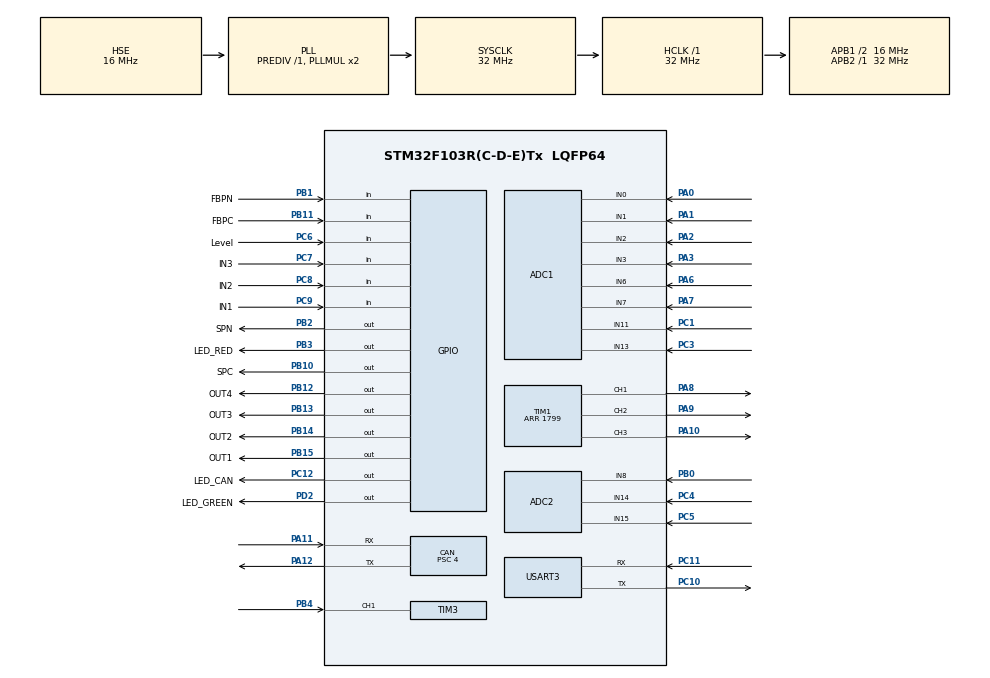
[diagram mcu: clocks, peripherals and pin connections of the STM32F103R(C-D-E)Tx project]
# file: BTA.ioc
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ADC1.Channel-0\#ChannelRegularConversion=ADC_CHANNEL_0
ADC1.Channel-1\#ChannelRegularConversion=ADC_CHANNEL_1
ADC1.Channel-2\#ChannelRegularConversion=ADC_CHANNEL_2
ADC1.Channel-3\#ChannelRegularConversion=ADC_CHANNEL_3
ADC1.Channel-4\#ChannelRegularConversion=ADC_CHANNEL_6
ADC1.Channel-5\#ChannelRegularConversion=ADC_CHANNEL_7
ADC1.Channel-6\#ChannelRegularConversion=ADC_CHANNEL_11
ADC1.Channel-7\#ChannelRegularConversion=ADC_CHANNEL_13
ADC1.NbrOfConversion=8
ADC1.NbrOfConversionFlag=1
ADC1.Rank-0\#ChannelRegularConversion=1
ADC1.Rank-1\#ChannelRegularConversion=2
ADC1.Rank-2\#ChannelRegularConversion=3
ADC1.Rank-3\#ChannelRegularConversion=4
ADC1.Rank-4\#ChannelRegularConversion=5
ADC1.Rank-5\#ChannelRegularConversion=6
ADC1.Rank-6\#ChannelRegularConversion=7
ADC1.Rank-7\#ChannelRegularConversion=8
ADC1.SamplingTime-0\#ChannelRegularConversion=ADC_SAMPLETIME_13CYCLES_5
ADC1.SamplingTime-1\#ChannelRegularConversion=ADC_SAMPLETIME_13CYCLES_5
ADC1.SamplingTime-2\#ChannelRegularConversion=ADC_SAMPLETIME_13CYCLES_5
ADC1.SamplingTime-3\#ChannelRegularConversion=ADC_SAMPLETIME_13CYCLES_5
ADC1.SamplingTime-4\#ChannelRegularConversion=ADC_SAMPLETIME_13CYCLES_5
ADC1.SamplingTime-5\#ChannelRegularConversion=ADC_SAMPLETIME_13CYCLES_5
ADC1.SamplingTime-6\#ChannelRegularConversion=ADC_SAMPLETIME_13CYCLES_5
ADC1.SamplingTime-7\#ChannelRegularConversion=ADC_SAMPLETIME_13CYCLES_5
ADC1.master=1
ADC2.Channel-1\#ChannelInjectedConversion=ADC_CHANNEL_8
ADC2.Channel-2\#ChannelInjectedConversion=ADC_CHANNEL_14
ADC2.Channel-3\#ChannelInjectedConversion=ADC_CHANNEL_15
ADC2.EnableInjectedConversion=ENABLE
ADC2.EnableRegularConversion=DISABLE
ADC2.InjNumberOfConversion=3
ADC2.InjectedOffset-1\#ChannelInjectedConversion=0
ADC2.InjectedOffset-2\#ChannelInjectedConversion=0
ADC2.InjectedOffset-3\#ChannelInjectedConversion=0
ADC2.InjectedRank-1\#ChannelInjectedConversion=1
ADC2.InjectedRank-2\#ChannelInjectedConversion=2
ADC2.InjectedRank-3\#ChannelInjectedConversion=3
ADC2.SamplingTime-1\#ChannelInjectedConversion=ADC_SAMPLETIME_28CYCLES_5
ADC2.SamplingTime-2\#ChannelInjectedConversion=ADC_SAMPLETIME_28CYCLES_5
ADC2.SamplingTime-3\#ChannelInjectedConversion=ADC_SAMPLETIME_28CYCLES_5
CAN.ABOM=ENABLE
CAN.BS1=CAN_BS1_12TQ
CAN.BS2=CAN_BS2_3TQ
CAN.CalculateBaudRate=250000
CAN.CalculateTimeBit=4000.00
CAN.CalculateTimeQuantum=250.0
CAN.NART=ENABLE
CAN.Prescaler=4
CAN.TXFP=ENABLE
Dma.ADC1.2.Direction=DMA_PERIPH_TO_MEMORY
Dma.ADC1.2.Instance=DMA1_Channel1
Dma.ADC1.2.MemDataAlignment=DMA_MDATAALIGN_HALFWORD
Dma.ADC1.2.MemInc=DMA_MINC_ENABLE
Dma.ADC1.2.Mode=DMA_NORMAL
Dma.ADC1.2.PeriphDataAlignment=DMA_PDATAALIGN_HALFWORD
Dma.ADC1.2.PeriphInc=DMA_PINC_DISABLE
Dma.ADC1.2.Priority=DMA_PRIORITY_LOW
Dma.Request0=USART3_TX
Dma.Request1=USART3_RX
Dma.Request2=ADC1
Dma.USART3_RX.1.Direction=DMA_PERIPH_TO_MEMORY
Dma.USART3_RX.1.Instance=DMA1_Channel3
Dma.USART3_RX.1.MemDataAlignment=DMA_MDATAALIGN_BYTE
Dma.USART3_RX.1.MemInc=DMA_MINC_ENABLE
Dma.USART3_RX.1.Mode=DMA_NORMAL
Dma.USART3_RX.1.PeriphDataAlignment=DMA_PDATAALIGN_BYTE
Dma.USART3_RX.1.PeriphInc=DMA_PINC_DISABLE
Dma.USART3_RX.1.Priority=DMA_PRIORITY_LOW
Dma.USART3_TX.0.Direction=DMA_MEMORY_TO_PERIPH
Dma.USART3_TX.0.Instance=DMA1_Channel2
Dma.USART3_TX.0.MemDataAlignment=DMA_MDATAALIGN_BYTE
Dma.USART3_TX.0.MemInc=DMA_MINC_ENABLE
Dma.USART3_TX.0.Mode=DMA_NORMAL
Dma.USART3_TX.0.PeriphDataAlignment=DMA_PDATAALIGN_BYTE
Dma.USART3_TX.0.PeriphInc=DMA_PINC_DISABLE
Dma.USART3_TX.0.Priority=DMA_PRIORITY_LOW
Mcu.Family=STM32F1
Mcu.Name=STM32F103R(C-D-E)Tx
Mcu.Package=LQFP64
NVIC.ADC1_2_IRQn=true\:0\:0\:false\:false\:true\:true\:true
NVIC.DMA1_Channel1_IRQn=true\:0\:0\:false\:false\:true\:false\:true
NVIC.DMA1_Channel2_IRQn=true\:0\:0\:false\:false\:true\:false\:true
NVIC.DMA1_Channel3_IRQn=true\:0\:0\:false\:false\:true\:false\:true
NVIC.PriorityGroup=NVIC_PRIORITYGROUP_4
NVIC.TIM3_IRQn=true\:0\:0\:false\:false\:true\:true\:true
NVIC.USART3_IRQn=true\:0\:0\:false\:false\:true\:true\:true
NVIC.USB_LP_CAN1_RX0_IRQn=true\:0\:0\:false\:false\:true\:true\:true
PA0-WKUP.Signal=ADCx_IN0
PA1.Signal=ADCx_IN1
PA10.Signal=S_TIM1_CH3
PA11.Mode=CAN_Activate
PA11.Signal=CAN_RX
PA12.Mode=CAN_Activate
PA12.Signal=CAN_TX
PA13.Mode=Serial_Wire
PA13.Signal=SYS_JTMS-SWDIO
PA14.Mode=Serial_Wire
PA14.Signal=SYS_JTCK-SWCLK
PA2.Signal=ADCx_IN2
PA3.Signal=ADCx_IN3
PA4.Signal=ADCx_IN4
PA5.Signal=ADCx_IN5
PA6.Signal=ADCx_IN6
PA7.Signal=ADCx_IN7
PA8.Signal=S_TIM1_CH1
PA9.Signal=S_TIM1_CH2
PB0.Signal=ADCx_IN8
PB1.GPIO_Label=FBPN
PB1.Signal=GPIO_Input
PB10.GPIO_Label=SPC
PB10.Signal=GPIO_Output
PB11.GPIO_Label=FBPC
PB11.Signal=GPIO_Input
PB12.GPIO_Label=OUT4
PB12.Signal=GPIO_Output
PB13.GPIO_Label=OUT3
PB13.Signal=GPIO_Output
PB14.GPIO_Label=OUT2
PB14.Signal=GPIO_Output
PB15.GPIO_Label=OUT1
PB15.Signal=GPIO_Output
PB2.GPIO_Label=SPN
PB2.Signal=GPIO_Output
PB3.GPIO_Label=LED_RED
PB3.Signal=GPIO_Output
PB4.Signal=S_TIM3_CH1
PC0.Signal=ADCx_IN10
PC1.Signal=ADCx_IN11
PC10.Mode=Asynchronous
PC10.Signal=USART3_TX
PC11.Mode=Asynchronous
PC11.Signal=USART3_RX
PC12.GPIO_Label=LED_CAN
PC12.Signal=GPIO_Output
PC2.Signal=ADCx_IN12
PC3.Signal=ADCx_IN13
PC4.Signal=ADCx_IN14
PC5.Signal=ADCx_IN15
PC6.GPIO_Label=Level
PC6.Signal=GPIO_Input
PC7.GPIO_Label=IN3
PC7.Signal=GPIO_Input
PC8.GPIO_Label=IN2
PC8.Signal=GPIO_Input
PC9.GPIO_Label=IN1
PC9.Signal=GPIO_Input
PD0-OSC_IN.Mode=HSE-External-Oscillator
PD0-OSC_IN.Signal=RCC_OSC_IN
PD1-OSC_OUT.Mode=HSE-External-Oscillator
PD1-OSC_OUT.Signal=RCC_OSC_OUT
PD2.GPIO_Label=LED_GREEN
PD2.Signal=GPIO_Output
ProjectManager.HeapSize=0x200
ProjectManager.StackSize=0x400
ProjectManager.TargetToolchain=STM32CubeIDE
RCC.ADCPresc=RCC_ADCPCLK2_DIV4
RCC.AHBFreq_Value=32000000
RCC.APB1CLKDivider=RCC_HCLK_DIV2
RCC.APB1Freq_Value=16000000
RCC.APB1TimFreq_Value=32000000
RCC.APB2Freq_Value=32000000
RCC.APB2TimFreq_Value=32000000
RCC.HCLKFreq_Value=32000000
RCC.HSE_VALUE=16000000
RCC.PLLSourceVirtual=RCC_PLLSOURCE_HSE
RCC.SYSCLKFreq_VALUE=32000000
RCC.SYSCLKSource=RCC_SYSCLKSOURCE_PLLCLK
RCC.USBFreq_Value=32000000
SH.ADCx_IN0.0=ADC1_IN0,IN0
SH.ADCx_IN1.0=ADC1_IN1,IN1
SH.ADCx_IN10.0=ADC1_IN10
SH.ADCx_IN11.0=ADC1_IN11,IN11
SH.ADCx_IN12.0=ADC1_IN12
SH.ADCx_IN13.0=ADC1_IN13,IN13
SH.ADCx_IN14.0=ADC2_IN14,IN14
SH.ADCx_IN15.0=ADC2_IN15,IN15
SH.ADCx_IN2.0=ADC1_IN2,IN2
SH.ADCx_IN3.0=ADC1_IN3,IN3
SH.ADCx_IN4.0=ADC1_IN4
SH.ADCx_IN5.0=ADC1_IN5
SH.ADCx_IN6.0=ADC1_IN6,IN6
SH.ADCx_IN7.0=ADC1_IN7,IN7
SH.ADCx_IN8.0=ADC2_IN8,IN8
SH.S_TIM1_CH1.0=TIM1_CH1,PWM Generation1 CH1
SH.S_TIM1_CH2.0=TIM1_CH2,PWM Generation2 CH2
SH.S_TIM1_CH3.0=TIM1_CH3,PWM Generation3 CH3
SH.S_TIM3_CH1.0=TIM3_CH1,PWM_Input_1
TIM1.Channel-PWM\ Generation1\ CH1=TIM_CHANNEL_1
TIM1.Channel-PWM\ Generation2\ CH2=TIM_CHANNEL_2
TIM1.Channel-PWM\ Generation3\ CH3=TIM_CHANNEL_3
TIM1.Period=1799
TIM3.Period=49999
TIM3.Prescaler=39
USART3.VirtualMode=VM_ASYNC
board=custom

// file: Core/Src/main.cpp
/* USER CODE BEGIN Header */
/**
  ******************************************************************************
  * @file           : main.c
  * @brief          : Main program body
  ******************************************************************************
  * @attention
  *
  * <h2><center>&copy; Copyright (c) 2024 STMicroelectronics.
  * All rights reserved.</center></h2>
  *
  * This software component is licensed by ST under BSD 3-Clause license,
  * the "License"; You may not use this file except in compliance with the
  * License. You may obtain a copy of the License at:
  *                        opensource.org/licenses/BSD-3-Clause
  *
  ******************************************************************************
  */
/* USER CODE END Header */
#include "main.h"

/* USER CODE BEGIN Includes */
#include "timers.h"
/* USER CODE END Includes */

ADC_HandleTypeDef hadc1;
ADC_HandleTypeDef hadc2;
DMA_HandleTypeDef hdma_adc1;

CAN_HandleTypeDef hcan;

TIM_HandleTypeDef htim1;
TIM_HandleTypeDef htim3;

UART_HandleTypeDef huart3;
DMA_HandleTypeDef hdma_usart3_tx;
DMA_HandleTypeDef hdma_usart3_rx;

void SystemClock_Config(void);
static void MX_GPIO_Init(void);
static void MX_DMA_Init(void);
static void MX_ADC1_Init(void);
static void MX_ADC2_Init(void);
static void MX_CAN_Init(void);
static void MX_USART3_UART_Init(void);
static void MX_TIM3_Init(void);
static void MX_TIM1_Init(void);

/* USER CODE BEGIN 0 */
#include "device.h"
/* USER CODE END 0 */

int main(void)
{

  /* MCU Configuration--------------------------------------------------------*/

  /* Reset of all peripherals, Initializes the Flash interface and the Systick. */
  HAL_Init();

  /* Configure the system clock */
  SystemClock_Config();

  /* Initialize all configured peripherals */
  MX_GPIO_Init();
  MX_DMA_Init();
  MX_ADC1_Init();
  MX_ADC2_Init();
  MX_CAN_Init();
  MX_USART3_UART_Init();
  MX_TIM3_Init();
  MX_TIM1_Init();
  /* USER CODE BEGIN 2 */

  decltype(auto) led_red     = Pin{GPIOB, LED_RED_Pin        };
  decltype(auto) led_green   = Pin{GPIOD, LED_GREEN_Pin      };
  decltype(auto) led_can     = Pin{GPIOC, LED_CAN_Pin        };
  decltype(auto) in1         = Pin{GPIOC, IN1_Pin            };
  decltype(auto) in2         = Pin{GPIOC, IN2_Pin            };
  decltype(auto) in3         = Pin{GPIOC, IN3_Pin            };
  decltype(auto) level       = Pin{GPIOC, Level_Pin          };
  decltype(auto) out1        = Pin{GPIOB, OUT1_Pin           };
  decltype(auto) out2        = Pin{GPIOB, OUT2_Pin           };
  decltype(auto) out3        = Pin{GPIOB, OUT3_Pin           };
  decltype(auto) out4        = Pin{GPIOB, OUT4_Pin           };
  decltype(auto) cool        = Pin{GPIOB, SPC_Pin            };
  decltype(auto) fb_cool     = Pin{GPIOB, FBPC_Pin           };
  decltype(auto) heat        = Pin{GPIOB, SPN_Pin            };
  decltype(auto) fb_heat     = Pin{GPIOB, FBPN_Pin           };

  decltype(auto) adc = ADC_ {adc_callback, adc_injected_callback, 8, 100};

  decltype(auto) first_fun = PWM{&htim1, TIM_CHANNEL_2, 1800};
  decltype(auto) second_fun = PWM{&htim1, TIM_CHANNEL_1, 1800};
  decltype(auto) pump = PWM{&htim1, TIM_CHANNEL_3, 1800};

  decltype(auto) counter = Counter(&htim3, TIM_CHANNEL_1, interrupt_ic_tim, 60'000);

  decltype(auto) uart = UART_<>{led_can};

  decltype(auto) ntc = NTC{};

  decltype(auto) service = Service<In_data, Out_data>{adc, ntc, uart, interrupt_dma, interrupt_uart};

  decltype(auto) can = CAN<In_id, Out_id>{led_can, interrupt_can_rx, 500};

  decltype(auto) device = Device{adc, first_fun, second_fun, pump, counter, service, can, led_red, led_green, led_can, in1, in2, in3, level, out1, out2, out3, out4, cool, fb_cool, heat, fb_heat};

  /* USER CODE END 2 */

  /* Infinite loop */
  /* USER CODE BEGIN WHILE */
  while (1)
  {
	  device();
    /* USER CODE END WHILE */

  }
}

void SystemClock_Config(void)
{
  RCC_OscInitTypeDef RCC_OscInitStruct = {0};
  RCC_ClkInitTypeDef RCC_ClkInitStruct = {0};
  RCC_PeriphCLKInitTypeDef PeriphClkInit = {0};

  /** Initializes the RCC Oscillators according to the specified parameters
  * in the RCC_OscInitTypeDef structure.
  */
  RCC_OscInitStruct.OscillatorType = RCC_OSCILLATORTYPE_HSE;
  RCC_OscInitStruct.HSEState = RCC_HSE_ON;
  RCC_OscInitStruct.HSEPredivValue = RCC_HSE_PREDIV_DIV1;
  RCC_OscInitStruct.HSIState = RCC_HSI_ON;
  RCC_OscInitStruct.PLL.PLLState = RCC_PLL_ON;
  RCC_OscInitStruct.PLL.PLLSource = RCC_PLLSOURCE_HSE;
  RCC_OscInitStruct.PLL.PLLMUL = RCC_PLL_MUL2;
  if (HAL_RCC_OscConfig(&RCC_OscInitStruct) != HAL_OK)
  {
    Error_Handler();
  }
  /** Initializes the CPU, AHB and APB buses clocks
  */
  RCC_ClkInitStruct.ClockType = RCC_CLOCKTYPE_HCLK|RCC_CLOCKTYPE_SYSCLK
                              |RCC_CLOCKTYPE_PCLK1|RCC_CLOCKTYPE_PCLK2;
  RCC_ClkInitStruct.SYSCLKSource = RCC_SYSCLKSOURCE_PLLCLK;
  RCC_ClkInitStruct.AHBCLKDivider = RCC_SYSCLK_DIV1;
  RCC_ClkInitStruct.APB1CLKDivider = RCC_HCLK_DIV2;
  RCC_ClkInitStruct.APB2CLKDivider = RCC_HCLK_DIV1;

  if (HAL_RCC_ClockConfig(&RCC_ClkInitStruct, FLASH_LATENCY_1) != HAL_OK)
  {
    Error_Handler();
  }
  PeriphClkInit.PeriphClockSelection = RCC_PERIPHCLK_ADC;
  PeriphClkInit.AdcClockSelection = RCC_ADCPCLK2_DIV4;
  if (HAL_RCCEx_PeriphCLKConfig(&PeriphClkInit) != HAL_OK)
  {
    Error_Handler();
  }
}

static void MX_ADC1_Init(void)
{

  ADC_ChannelConfTypeDef sConfig = {0};

  /** Common config
  */
  hadc1.Instance = ADC1;
  hadc1.Init.ScanConvMode = ADC_SCAN_ENABLE;
  hadc1.Init.ContinuousConvMode = DISABLE;
  hadc1.Init.DiscontinuousConvMode = DISABLE;
  hadc1.Init.ExternalTrigConv = ADC_SOFTWARE_START;
  hadc1.Init.DataAlign = ADC_DATAALIGN_RIGHT;
  hadc1.Init.NbrOfConversion = 8;
  if (HAL_ADC_Init(&hadc1) != HAL_OK)
  {
    Error_Handler();
  }
  /** Configure Regular Channel
  */
  sConfig.Channel = ADC_CHANNEL_0;
  sConfig.Rank = ADC_REGULAR_RANK_1;
  sConfig.SamplingTime = ADC_SAMPLETIME_13CYCLES_5;
  if (HAL_ADC_ConfigChannel(&hadc1, &sConfig) != HAL_OK)
  {
    Error_Handler();
  }
  /** Configure Regular Channel
  */
  sConfig.Channel = ADC_CHANNEL_1;
  sConfig.Rank = ADC_REGULAR_RANK_2;
  if (HAL_ADC_ConfigChannel(&hadc1, &sConfig) != HAL_OK)
  {
    Error_Handler();
  }
  /** Configure Regular Channel
  */
  sConfig.Channel = ADC_CHANNEL_2;
  sConfig.Rank = ADC_REGULAR_RANK_3;
  if (HAL_ADC_ConfigChannel(&hadc1, &sConfig) != HAL_OK)
  {
    Error_Handler();
  }
  /** Configure Regular Channel
  */
  sConfig.Channel = ADC_CHANNEL_3;
  sConfig.Rank = ADC_REGULAR_RANK_4;
  if (HAL_ADC_ConfigChannel(&hadc1, &sConfig) != HAL_OK)
  {
    Error_Handler();
  }
  /** Configure Regular Channel
  */
  sConfig.Channel = ADC_CHANNEL_6;
  sConfig.Rank = ADC_REGULAR_RANK_5;
  if (HAL_ADC_ConfigChannel(&hadc1, &sConfig) != HAL_OK)
  {
    Error_Handler();
  }
  /** Configure Regular Channel
  */
  sConfig.Channel = ADC_CHANNEL_7;
  sConfig.Rank = ADC_REGULAR_RANK_6;
  if (HAL_ADC_ConfigChannel(&hadc1, &sConfig) != HAL_OK)
  {
    Error_Handler();
  }
  /** Configure Regular Channel
  */
  sConfig.Channel = ADC_CHANNEL_11;
  sConfig.Rank = ADC_REGULAR_RANK_7;
  if (HAL_ADC_ConfigChannel(&hadc1, &sConfig) != HAL_OK)
  {
    Error_Handler();
  }
  /** Configure Regular Channel
  */
  sConfig.Channel = ADC_CHANNEL_13;
  sConfig.Rank = ADC_REGULAR_RANK_8;
  if (HAL_ADC_ConfigChannel(&hadc1, &sConfig) != HAL_OK)
  {
    Error_Handler();
  }

}

static void MX_ADC2_Init(void)
{

  ADC_InjectionConfTypeDef sConfigInjected = {0};

  /** Common config
  */
  hadc2.Instance = ADC2;
  hadc2.Init.ScanConvMode = ADC_SCAN_ENABLE;
  hadc2.Init.ContinuousConvMode = DISABLE;
  hadc2.Init.DiscontinuousConvMode = DISABLE;
  hadc2.Init.ExternalTrigConv = ADC_SOFTWARE_START;
  hadc2.Init.DataAlign = ADC_DATAALIGN_RIGHT;
  hadc2.Init.NbrOfConversion = 1;
  if (HAL_ADC_Init(&hadc2) != HAL_OK)
  {
    Error_Handler();
  }
  /** Configure Injected Channel
  */
  sConfigInjected.InjectedChannel = ADC_CHANNEL_8;
  sConfigInjected.InjectedRank = 1;
  sConfigInjected.InjectedNbrOfConversion = 3;
  sConfigInjected.InjectedSamplingTime = ADC_SAMPLETIME_28CYCLES_5;
  sConfigInjected.ExternalTrigInjecConv = ADC_INJECTED_SOFTWARE_START;
  sConfigInjected.AutoInjectedConv = DISABLE;
  sConfigInjected.InjectedDiscontinuousConvMode = DISABLE;
  sConfigInjected.InjectedOffset = 0;
  if (HAL_ADCEx_InjectedConfigChannel(&hadc2, &sConfigInjected) != HAL_OK)
  {
    Error_Handler();
  }
  /** Configure Injected Channel
  */
//  sConfigInjected.InjectedChannel = ADC_CHANNEL_14;
//  if (HAL_ADCEx_InjectedConfigChannel(&hadc2, &sConfigInjected) != HAL_OK)
//  {
//    Error_Handler();
//  }
//  /** Configure Injected Channel
//  */
//  sConfigInjected.InjectedChannel = ADC_CHANNEL_15;
//  if (HAL_ADCEx_InjectedConfigChannel(&hadc2, &sConfigInjected) != HAL_OK)
//  {
//    Error_Handler();
//  }
  /* USER CODE BEGIN ADC2_Init 2 */
  sConfigInjected.InjectedChannel = ADC_CHANNEL_14;
    sConfigInjected.InjectedRank = 2;
    if (HAL_ADCEx_InjectedConfigChannel(&hadc2, &sConfigInjected) != HAL_OK)
    {
      Error_Handler();
    }
    /** Configure Injected Channel
    */
    sConfigInjected.InjectedChannel = ADC_CHANNEL_15;
    sConfigInjected.InjectedRank = 3;
    if (HAL_ADCEx_InjectedConfigChannel(&hadc2, &sConfigInjected) != HAL_OK)
    {
      Error_Handler();
    }
  /* USER CODE END ADC2_Init 2 */

}

static void MX_CAN_Init(void)
{

  hcan.Instance = CAN1;
  hcan.Init.Prescaler = 4;
  hcan.Init.Mode = CAN_MODE_NORMAL;
  hcan.Init.SyncJumpWidth = CAN_SJW_1TQ;
  hcan.Init.TimeSeg1 = CAN_BS1_12TQ;
  hcan.Init.TimeSeg2 = CAN_BS2_3TQ;
  hcan.Init.TimeTriggeredMode = DISABLE;
  hcan.Init.AutoBusOff = ENABLE;
  hcan.Init.AutoWakeUp = DISABLE;
  hcan.Init.AutoRetransmission = ENABLE;
  hcan.Init.ReceiveFifoLocked = DISABLE;
  hcan.Init.TransmitFifoPriority = ENABLE;
  if (HAL_CAN_Init(&hcan) != HAL_OK)
  {
    Error_Handler();
  }
  /* USER CODE BEGIN CAN_Init 2 */

  CAN_FilterTypeDef canfilterconfig;

    	canfilterconfig.FilterActivation = CAN_FILTER_ENABLE;
    	canfilterconfig.FilterBank = 0;
    	canfilterconfig.FilterFIFOAssignment = CAN_FILTER_FIFO0;
    	canfilterconfig.FilterIdHigh = 0;
    	canfilterconfig.FilterIdLow = 0;
    	canfilterconfig.FilterMaskIdHigh = 0;
    	canfilterconfig.FilterMaskIdLow = 0;
    	canfilterconfig.FilterMode = CAN_FILTERMODE_IDMASK;
    	canfilterconfig.FilterScale = CAN_FILTERSCALE_32BIT;
    	canfilterconfig.SlaveStartFilterBank = 14; // how many filters to assign to the CAN1 (master can)

    	HAL_CAN_ConfigFilter(&hcan, &canfilterconfig);

    	HAL_CAN_Start(&hcan);
    	HAL_CAN_ActivateNotification(&hcan, CAN_IT_RX_FIFO0_MSG_PENDING);

  /* USER CODE END CAN_Init 2 */

}

static void MX_TIM1_Init(void)
{

  TIM_MasterConfigTypeDef sMasterConfig = {0};
  TIM_OC_InitTypeDef sConfigOC = {0};
  TIM_BreakDeadTimeConfigTypeDef sBreakDeadTimeConfig = {0};

  htim1.Instance = TIM1;
  htim1.Init.Prescaler = 0;
  htim1.Init.CounterMode = TIM_COUNTERMODE_UP;
  htim1.Init.Period = 1799;
  htim1.Init.ClockDivision = TIM_CLOCKDIVISION_DIV1;
  htim1.Init.RepetitionCounter = 0;
  htim1.Init.AutoReloadPreload = TIM_AUTORELOAD_PRELOAD_DISABLE;
  if (HAL_TIM_PWM_Init(&htim1) != HAL_OK)
  {
    Error_Handler();
  }
  sMasterConfig.MasterOutputTrigger = TIM_TRGO_RESET;
  sMasterConfig.MasterSlaveMode = TIM_MASTERSLAVEMODE_DISABLE;
  if (HAL_TIMEx_MasterConfigSynchronization(&htim1, &sMasterConfig) != HAL_OK)
  {
    Error_Handler();
  }
  sConfigOC.OCMode = TIM_OCMODE_PWM1;
  sConfigOC.Pulse = 0;
  sConfigOC.OCPolarity = TIM_OCPOLARITY_HIGH;
  sConfigOC.OCNPolarity = TIM_OCNPOLARITY_HIGH;
  sConfigOC.OCFastMode = TIM_OCFAST_DISABLE;
  sConfigOC.OCIdleState = TIM_OCIDLESTATE_RESET;
  sConfigOC.OCNIdleState = TIM_OCNIDLESTATE_RESET;
  if (HAL_TIM_PWM_ConfigChannel(&htim1, &sConfigOC, TIM_CHANNEL_1) != HAL_OK)
  {
    Error_Handler();
  }
  if (HAL_TIM_PWM_ConfigChannel(&htim1, &sConfigOC, TIM_CHANNEL_2) != HAL_OK)
  {
    Error_Handler();
  }
  if (HAL_TIM_PWM_ConfigChannel(&htim1, &sConfigOC, TIM_CHANNEL_3) != HAL_OK)
  {
    Error_Handler();
  }
  sBreakDeadTimeConfig.OffStateRunMode = TIM_OSSR_DISABLE;
  sBreakDeadTimeConfig.OffStateIDLEMode = TIM_OSSI_DISABLE;
  sBreakDeadTimeConfig.LockLevel = TIM_LOCKLEVEL_OFF;
  sBreakDeadTimeConfig.DeadTime = 0;
  sBreakDeadTimeConfig.BreakState = TIM_BREAK_DISABLE;
  sBreakDeadTimeConfig.BreakPolarity = TIM_BREAKPOLARITY_HIGH;
  sBreakDeadTimeConfig.AutomaticOutput = TIM_AUTOMATICOUTPUT_DISABLE;
  if (HAL_TIMEx_ConfigBreakDeadTime(&htim1, &sBreakDeadTimeConfig) != HAL_OK)
  {
    Error_Handler();
  }
  HAL_TIM_MspPostInit(&htim1);

}

static void MX_TIM3_Init(void)
{

  TIM_SlaveConfigTypeDef sSlaveConfig = {0};
  TIM_IC_InitTypeDef sConfigIC = {0};
  TIM_MasterConfigTypeDef sMasterConfig = {0};

  htim3.Instance = TIM3;
  htim3.Init.Prescaler = 39;
  htim3.Init.CounterMode = TIM_COUNTERMODE_UP;
  htim3.Init.Period = 49999;
  htim3.Init.ClockDivision = TIM_CLOCKDIVISION_DIV1;
  htim3.Init.AutoReloadPreload = TIM_AUTORELOAD_PRELOAD_DISABLE;
  if (HAL_TIM_IC_Init(&htim3) != HAL_OK)
  {
    Error_Handler();
  }
  sSlaveConfig.SlaveMode = TIM_SLAVEMODE_RESET;
  sSlaveConfig.InputTrigger = TIM_TS_TI1FP1;
  sSlaveConfig.TriggerPolarity = TIM_INPUTCHANNELPOLARITY_RISING;
  sSlaveConfig.TriggerPrescaler = TIM_ICPSC_DIV1;
  sSlaveConfig.TriggerFilter = 0;
  if (HAL_TIM_SlaveConfigSynchro(&htim3, &sSlaveConfig) != HAL_OK)
  {
    Error_Handler();
  }
  sConfigIC.ICPolarity = TIM_INPUTCHANNELPOLARITY_RISING;
  sConfigIC.ICSelection = TIM_ICSELECTION_DIRECTTI;
  sConfigIC.ICPrescaler = TIM_ICPSC_DIV1;
  sConfigIC.ICFilter = 0;
  if (HAL_TIM_IC_ConfigChannel(&htim3, &sConfigIC, TIM_CHANNEL_1) != HAL_OK)
  {
    Error_Handler();
  }
  sConfigIC.ICPolarity = TIM_INPUTCHANNELPOLARITY_FALLING;
  sConfigIC.ICSelection = TIM_ICSELECTION_INDIRECTTI;
  if (HAL_TIM_IC_ConfigChannel(&htim3, &sConfigIC, TIM_CHANNEL_2) != HAL_OK)
  {
    Error_Handler();
  }
  sMasterConfig.MasterOutputTrigger = TIM_TRGO_RESET;
  sMasterConfig.MasterSlaveMode = TIM_MASTERSLAVEMODE_DISABLE;
  if (HAL_TIMEx_MasterConfigSynchronization(&htim3, &sMasterConfig) != HAL_OK)
  {
    Error_Handler();
  }

}

static void MX_USART3_UART_Init(void)
{

  huart3.Instance = USART3;
  huart3.Init.BaudRate = 115200;
  huart3.Init.WordLength = UART_WORDLENGTH_8B;
  huart3.Init.StopBits = UART_STOPBITS_1;
  huart3.Init.Parity = UART_PARITY_NONE;
  huart3.Init.Mode = UART_MODE_TX_RX;
  huart3.Init.HwFlowCtl = UART_HWCONTROL_NONE;
  huart3.Init.OverSampling = UART_OVERSAMPLING_16;
  if (HAL_UART_Init(&huart3) != HAL_OK)
  {
    Error_Handler();
  }

}

static void MX_DMA_Init(void)
{

  /* DMA controller clock enable */
  __HAL_RCC_DMA1_CLK_ENABLE();

  /* DMA interrupt init */
  /* DMA1_Channel1_IRQn interrupt configuration */
  HAL_NVIC_SetPriority(DMA1_Channel1_IRQn, 0, 0);
  HAL_NVIC_EnableIRQ(DMA1_Channel1_IRQn);
  /* DMA1_Channel2_IRQn interrupt configuration */
  HAL_NVIC_SetPriority(DMA1_Channel2_IRQn, 0, 0);
  HAL_NVIC_EnableIRQ(DMA1_Channel2_IRQn);
  /* DMA1_Channel3_IRQn interrupt configuration */
  HAL_NVIC_SetPriority(DMA1_Channel3_IRQn, 0, 0);
  HAL_NVIC_EnableIRQ(DMA1_Channel3_IRQn);

}

static void MX_GPIO_Init(void)
{
  GPIO_InitTypeDef GPIO_InitStruct = {0};

  /* GPIO Ports Clock Enable */
  __HAL_RCC_GPIOD_CLK_ENABLE();
  __HAL_RCC_GPIOC_CLK_ENABLE();
  __HAL_RCC_GPIOA_CLK_ENABLE();
  __HAL_RCC_GPIOB_CLK_ENABLE();

  /*Configure GPIO pin Output Level */
  HAL_GPIO_WritePin(GPIOB, SPN_Pin|SPC_Pin|OUT4_Pin|OUT3_Pin
                          |OUT2_Pin|OUT1_Pin|LED_RED_Pin, GPIO_PIN_RESET);

  /*Configure GPIO pin Output Level */
  HAL_GPIO_WritePin(LED_CAN_GPIO_Port, LED_CAN_Pin, GPIO_PIN_RESET);

  /*Configure GPIO pin Output Level */
  HAL_GPIO_WritePin(LED_GREEN_GPIO_Port, LED_GREEN_Pin, GPIO_PIN_RESET);

  /*Configure GPIO pins : FBPN_Pin FBPC_Pin */
  GPIO_InitStruct.Pin = FBPN_Pin|FBPC_Pin;
  GPIO_InitStruct.Mode = GPIO_MODE_INPUT;
  GPIO_InitStruct.Pull = GPIO_NOPULL;
  HAL_GPIO_Init(GPIOB, &GPIO_InitStruct);

  /*Configure GPIO pins : SPN_Pin SPC_Pin OUT4_Pin OUT3_Pin
                           OUT2_Pin OUT1_Pin LED_RED_Pin */
  GPIO_InitStruct.Pin = SPN_Pin|SPC_Pin|OUT4_Pin|OUT3_Pin
                          |OUT2_Pin|OUT1_Pin|LED_RED_Pin;
  GPIO_InitStruct.Mode = GPIO_MODE_OUTPUT_PP;
  GPIO_InitStruct.Pull = GPIO_NOPULL;
  GPIO_InitStruct.Speed = GPIO_SPEED_FREQ_LOW;
  HAL_GPIO_Init(GPIOB, &GPIO_InitStruct);

  /*Configure GPIO pins : Level_Pin IN3_Pin IN2_Pin IN1_Pin */
  GPIO_InitStruct.Pin = Level_Pin|IN3_Pin|IN2_Pin|IN1_Pin;
  GPIO_InitStruct.Mode = GPIO_MODE_INPUT;
  GPIO_InitStruct.Pull = GPIO_NOPULL;
  HAL_GPIO_Init(GPIOC, &GPIO_InitStruct);

  /*Configure GPIO pin : LED_CAN_Pin */
  GPIO_InitStruct.Pin = LED_CAN_Pin;
  GPIO_InitStruct.Mode = GPIO_MODE_OUTPUT_PP;
  GPIO_InitStruct.Pull = GPIO_NOPULL;
  GPIO_InitStruct.Speed = GPIO_SPEED_FREQ_LOW;
  HAL_GPIO_Init(LED_CAN_GPIO_Port, &GPIO_InitStruct);

  /*Configure GPIO pin : LED_GREEN_Pin */
  GPIO_InitStruct.Pin = LED_GREEN_Pin;
  GPIO_InitStruct.Mode = GPIO_MODE_OUTPUT_PP;
  GPIO_InitStruct.Pull = GPIO_NOPULL;
  GPIO_InitStruct.Speed = GPIO_SPEED_FREQ_LOW;
  HAL_GPIO_Init(LED_GREEN_GPIO_Port, &GPIO_InitStruct);

}

void Error_Handler(void)
{
  __disable_irq();
  while (1)
  {
  }
}

/************************ (C) COPYRIGHT STMicroelectronics *****END OF FILE****/
